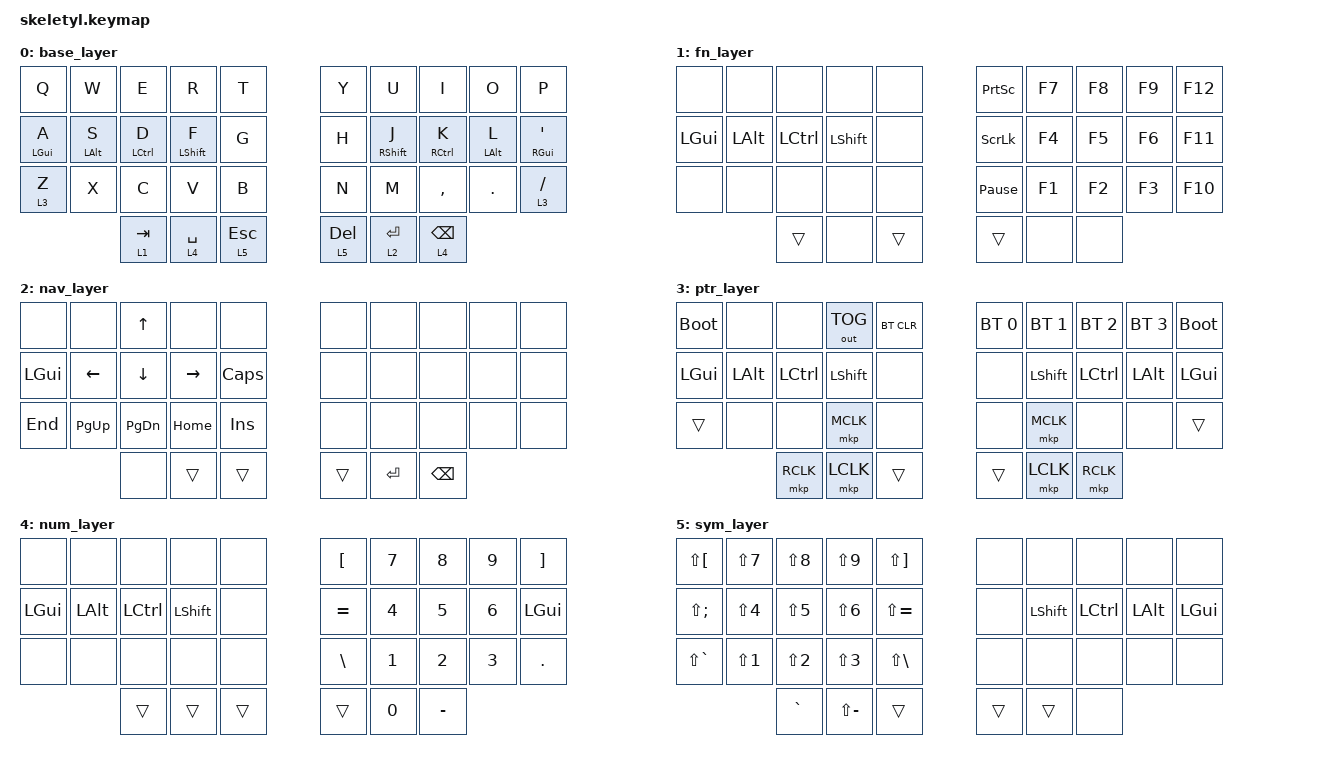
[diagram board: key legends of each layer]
/*
 * Skeletyl (LAYOUT_split_3x5_3, 36 keys) ZMK keymap.
 * Translated from Vial export ll.vil (2023-02-01) - a 34-key
 * LAYOUT_split_3x5_2 map. Positions 32 and 33 are NEW; see README.
 * PTR layer: output toggle, BT clear and BT profiles 0-3 fill dead top-row slots.
 *
 *   0  1  2  3  4        5  6  7  8  9
 *  10 11 12 13 14       15 16 17 18 19
 *  20 21 22 23 24       25 26 27 28 29
 *        30 31 32       33 34 35
 */

#include <behaviors.dtsi>
#include <dt-bindings/zmk/keys.h>
#include <dt-bindings/zmk/bt.h>
#include <dt-bindings/zmk/outputs.h>
#include <dt-bindings/zmk/mouse.h>

#define BASE 0
#define FN   1
#define NAV  2
#define PTR  3
#define NUM  4
#define SYM  5

/ {
    behaviors {
        // Home-row mods, split left/right so a hold only registers when
        // combined with a key on the OPPOSITE half (or a thumb). Stock
        // &mt has no positional guard and misfires badly at 36 keys.
        hml: homerow_mod_left {
            compatible = "zmk,behavior-hold-tap";
            #binding-cells = <2>;
            flavor = "balanced";
            tapping-term-ms = <200>;
            quick-tap-ms = <175>;
            require-prior-idle-ms = <150>;
            bindings = <&kp>, <&kp>;
            hold-trigger-key-positions = <5 6 7 8 9 15 16 17 18 19 25 26 27 28 29 30 31 32 33 34 35>;
            hold-trigger-on-release;
        };

        hmr: homerow_mod_right {
            compatible = "zmk,behavior-hold-tap";
            #binding-cells = <2>;
            flavor = "balanced";
            tapping-term-ms = <200>;
            quick-tap-ms = <175>;
            require-prior-idle-ms = <150>;
            bindings = <&kp>, <&kp>;
            hold-trigger-key-positions = <0 1 2 3 4 10 11 12 13 14 20 21 22 23 24 30 31 32 33 34 35>;
            hold-trigger-on-release;
        };
    };

    keymap {
        compatible = "zmk,keymap";

        base_layer {
            bindings = <
    &kp Q            &kp W            &kp E            &kp R            &kp T              &kp Y            &kp U            &kp I            &kp O            &kp P
    &hml LGUI A      &hml LALT S      &hml LCTRL D     &hml LSHFT F     &kp G              &kp H            &hmr RSHFT J     &hmr RCTRL K     &hmr LALT L      &hmr RGUI SQT
    &lt 3 Z          &kp X            &kp C            &kp V            &kp B              &kp N            &kp M            &kp COMMA        &kp DOT          &lt 3 FSLH
                                      &lt 1 TAB        &lt 4 SPACE      &lt 5 ESC          &lt 5 DEL        &lt 2 RET        &lt 4 BSPC
            >;
        };

        fn_layer {
            bindings = <
    &none            &none            &none            &none            &none              &kp PSCRN        &kp F7           &kp F8           &kp F9           &kp F12
    &kp LGUI         &kp LALT         &kp LCTRL        &kp LSHFT        &none              &kp SLCK         &kp F4           &kp F5           &kp F6           &kp F11
    &none            &none            &none            &none            &none              &kp PAUSE_BREAK  &kp F1           &kp F2           &kp F3           &kp F10
                                      &trans           &none            &trans             &trans           &none            &none
            >;
        };

        nav_layer {
            bindings = <
    &none            &none            &kp UP           &none            &none              &none            &none            &none            &none            &none
    &kp LGUI         &kp LEFT         &kp DOWN         &kp RIGHT        &kp CAPS           &none            &none            &none            &none            &none
    &kp END          &kp PG_UP        &kp PG_DN        &kp HOME         &kp INS            &none            &none            &none            &none            &none
                                      &none            &trans           &trans             &trans           &kp RET          &kp BSPC
            >;
        };

        ptr_layer {
            bindings = <
    &bootloader      &none            &none            &out OUT_TOG     &bt BT_CLR         &bt BT_SEL 0     &bt BT_SEL 1     &bt BT_SEL 2     &bt BT_SEL 3     &bootloader
    &kp LGUI         &kp LALT         &kp LCTRL        &kp LSHFT        &none              &none            &kp LSHFT        &kp LCTRL        &kp LALT         &kp LGUI
    &trans           &none            &none            &mkp MCLK        &none              &none            &mkp MCLK        &none            &none            &trans
                                      &mkp RCLK        &mkp LCLK        &trans             &trans           &mkp LCLK        &mkp RCLK
            >;
        };

        num_layer {
            bindings = <
    &none            &none            &none            &none            &none              &kp LBKT         &kp N7           &kp N8           &kp N9           &kp RBKT
    &kp LGUI         &kp LALT         &kp LCTRL        &kp LSHFT        &none              &kp EQUAL        &kp N4           &kp N5           &kp N6           &kp LGUI
    &none            &none            &none            &none            &none              &kp BSLH         &kp N1           &kp N2           &kp N3           &kp DOT
                                      &trans           &trans           &trans             &trans           &kp N0           &kp MINUS
            >;
        };

        sym_layer {
            bindings = <
    &kp LS(LBKT)     &kp LS(N7)       &kp LS(N8)       &kp LS(N9)       &kp LS(RBKT)       &none            &none            &none            &none            &none
    &kp LS(SEMI)     &kp LS(N4)       &kp LS(N5)       &kp LS(N6)       &kp LS(EQUAL)      &none            &kp LSHFT        &kp LCTRL        &kp LALT         &kp LGUI
    &kp LS(GRAVE)    &kp LS(N1)       &kp LS(N2)       &kp LS(N3)       &kp LS(BSLH)       &none            &none            &none            &none            &none
                                      &kp GRAVE        &kp LS(MINUS)    &trans             &trans           &trans           &none
            >;
        };

    };
};
